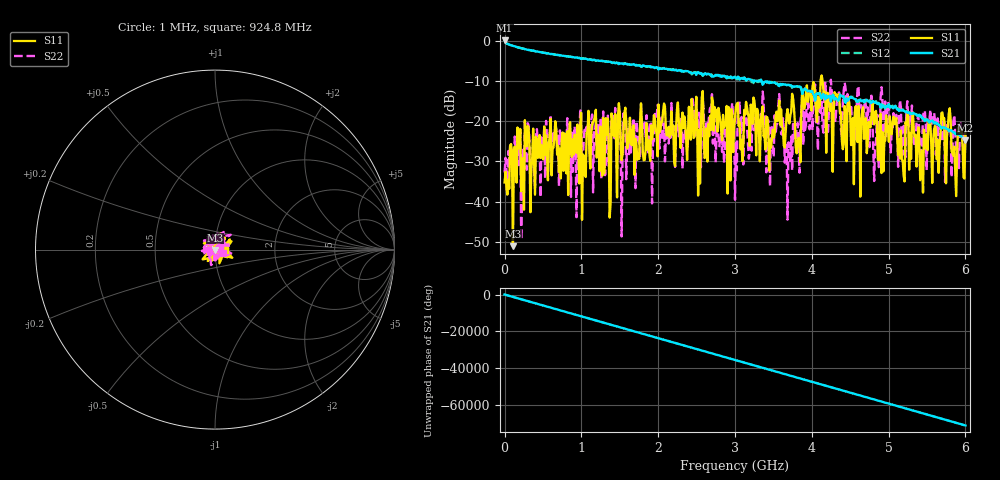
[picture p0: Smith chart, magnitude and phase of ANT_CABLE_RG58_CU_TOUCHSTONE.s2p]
# GHZ S DB R 50.000000000000
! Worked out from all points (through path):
!   501 points, 1 MHz to 6 GHz, reference 50 ohm
!   highest |S21| = 0.08 dB at 1 MHz (marker M1); lowest = -24.8 dB at 6 GHz (marker M2)
!   lowest |S11| = -51.1 dB at 109 MHz (marker M3), VSWR 1.01, Z = 50 - j0.277 ohm
!   |S11| at or under -10 dB: start of sweep to 4.116 GHz; 4.141 GHz to end of sweep
!   |S22| runs from -49.5 to -9.7 dB; largest |S21 - S12| = 0.038
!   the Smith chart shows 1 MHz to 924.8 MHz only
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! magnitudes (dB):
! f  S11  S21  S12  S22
! 1 MHz  -35.2  0.1  -0.2  -32.8
! 109 MHz  -51.1  -1.3  -1.3  -37.3
! 229 MHz  -32.7  -1.9  -1.9  -34.6
! 289 MHz  -26.2  -2.2  -2.2  -32.1
! 360.9 MHz  -29.8  -2.4  -2.4  -30.2
! 1.009 GHz  -44.5  -4.4  -4.4  -35.0
! 1.165 GHz  -19.8  -4.7  -4.7  -22.7
! 1.357 GHz  -25.9  -5.2  -5.2  -31.2
! 1.417 GHz  -23.4  -5.4  -5.4  -18.7
! 1.537 GHz  -28.2  -5.6  -5.6  -26.9
! 2.005 GHz  -15.9  -7.1  -6.7  -17.3
! 2.677 GHz  -18.7  -8.4  -8.4  -16.7
! 3.001 GHz  -19.5  -9.1  -8.9  -39.5
! 3.06 GHz  -20.2  -9.7  -9.3  -15.1
! 3.468 GHz  -26.6  -10.5  -10.2  -21.8
! 3.564 GHz  -18.7  -11.1  -10.9  -16.1
! 3.672 GHz  -18.5  -11.0  -11.0  -25.2
! 3.744 GHz  -13.2  -11.4  -11.7  -32.3
! 3.828 GHz  -24.2  -11.4  -11.5  -27.0
! 4.008 GHz  -11.6  -12.8  -13.0  -22.2
! 5.004 GHz  -25.1  -15.8  -16.3  -16.2
! 6 GHz  -22.7  -24.8  -25.1  -23.5
